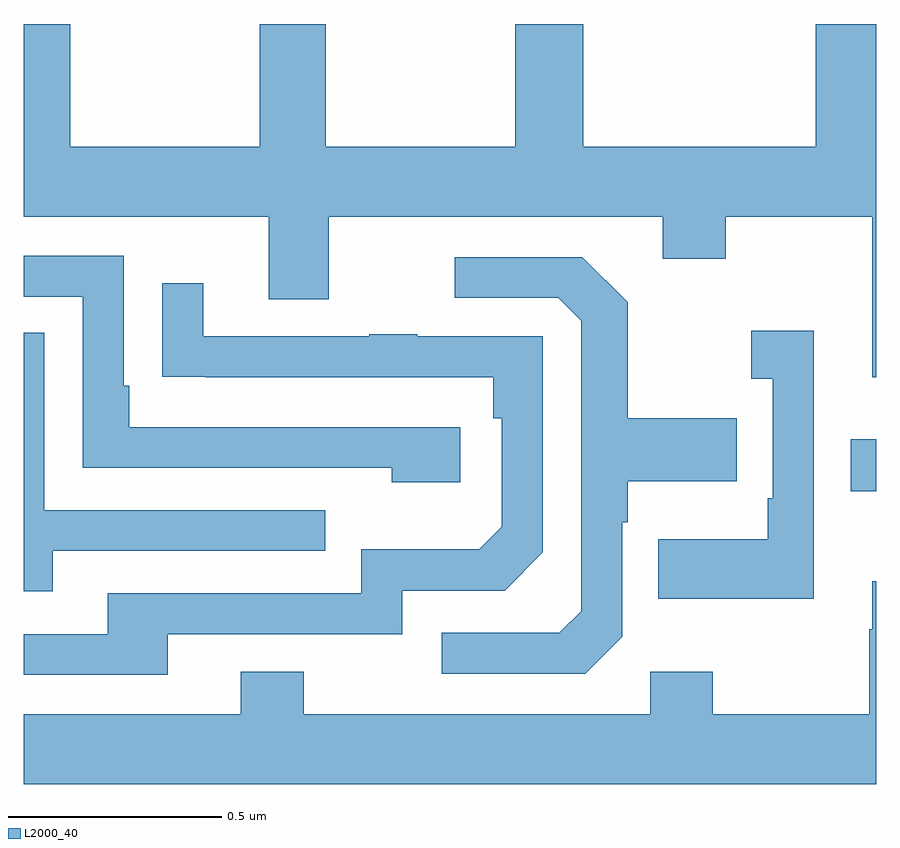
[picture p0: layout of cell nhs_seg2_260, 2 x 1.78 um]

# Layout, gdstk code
import gdstk
lib = gdstk.Library(unit=1e-6, precision=1e-09)
def R(c, l, rs):  # rectangles x0, y0, x1, y1
    for r in rs: c.add(gdstk.rectangle(r[:2], r[2:], *l))
def P(c, l, *ps):  # polygons
    for p in ps: c.add(gdstk.Polygon(p, *l))
L2000_40 = (2000, 40)

nhs_seg2_260 = lib.new_cell('nhs_seg2_260')
R(nhs_seg2_260, L2000_40, [(115.941,601.703,116,601.825)])
P(nhs_seg2_260, L2000_40, [(116,602.8),(115.859,602.8),(115.859,602.512),(115.313,602.512),(115.313,602.8),(115.153,602.8),(115.153,602.512),(114.708,602.512),(114.708,602.8),(114.553,602.8),(114.553,602.512),(114.108,602.512),(114.108,602.8),(114,602.8),(114,602.348),(114.575,602.348),(114.575,602.154),(114.715,602.154),(114.715,602.348),(115.499,602.348),(115.499,602.249),(115.647,602.249),(115.647,602.348),(115.991,602.348),(115.991,601.971),(116,601.971)],
  [(115.024,601.854),(114.247,601.854),(114.247,601.951),(114.234,601.951),(114.234,602.256),(114,602.256),(114,602.16),(114.138,602.16),(114.138,601.758),(114.863,601.758),(114.863,601.724),(115.024,601.724)],
  [(115.404,601.362),(115.404,601.631),(115.417,601.631),(115.417,601.727),(115.673,601.727),(115.673,601.875),(115.417,601.875),(115.417,602.147),(115.311,602.253),(115.011,602.253),(115.011,602.157),(115.254,602.157),(115.308,602.103),(115.308,601.422),(115.257,601.371),(114.981,601.371),(114.981,601.275),(115.317,601.275)],
  [(114.337,601.368),(114.888,601.368),(114.888,601.47),(115.128,601.47),(115.218,601.56),(115.218,602.067),(114.923,602.067),(114.923,602.072),(114.811,602.072),(114.811,602.067),(114.421,602.067),(114.421,602.191),(114.325,602.191),(114.325,601.972),(114.427,601.972),(114.427,601.971),(115.102,601.971),(115.102,601.874),(115.122,601.874),(115.122,601.62),(115.069,601.567),(114.792,601.567),(114.792,601.464),(114.197,601.464),(114.197,601.368),(114,601.368),(114,601.272),(114.337,601.272)],
  [(115.854,602.08),(115.707,602.08),(115.707,601.967),(115.758,601.967),(115.758,601.687),(115.746,601.687),(115.746,601.591),(115.489,601.591),(115.489,601.451),(115.854,601.451)],
  [(114.067,601.563),(114.707,601.563),(114.707,601.659),(114.048,601.659),(114.048,602.075),(114,602.075),(114,601.469),(114.067,601.469)],
  [(116,601.492),(115.991,601.492),(115.991,601.379),(115.984,601.379),(115.984,601.18),(115.617,601.18),(115.617,601.279),(115.47,601.279),(115.47,601.18),(114.657,601.18),(114.657,601.279),(114.509,601.279),(114.509,601.18),(114,601.18),(114,601.016),(116,601.016)])

lib.write_gds('nhs_seg2_260.gds')
